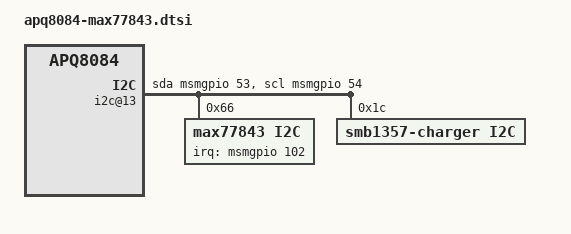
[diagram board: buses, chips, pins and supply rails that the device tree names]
/* Copyright (c) 2012, The Linux Foundation. All rights reserved.
 *
 * This program is free software; you can redistribute it and/or modify
 * it under the terms of the GNU General Public License version 2 and
 * only version 2 as published by the Free Software Foundation.
 *
 * This program is distributed in the hope that it will be useful,
 * but WITHOUT ANY WARRANTY; without even the implied warranty of
 * MERCHANTABILITY or FITNESS FOR A PARTICULAR PURPOSE.  See the
 * GNU General Public License for more details.
 */

&soc {
	i2c@13 {
		cell-index = <13>;
		compatible = "i2c-gpio";
		gpios = <&msmgpio 53 0 /* sda */
			&msmgpio 54 0 /* scl */
			>;
		i2c-gpio,delay-us = <2>;
		#address-cells = <1>;
		#size-cells = <0>;

		max77843@49 {
			compatible = "max77843,i2c";
			reg = <0x66>;
			interrupt-parent = <&msmgpio>;
			interrupts = <102 0>;
			max77843,irq-gpio = <&msmgpio 102 0x00>;
			max77843,wakeup = <1>;
			haptic,mode = <1>;
			haptic,divisor = <128>;
		};

		smb1357-charger@1c {
			compatible = "smb1357-charger,i2c";
			reg = <0x1c>;
		};
	};
};

